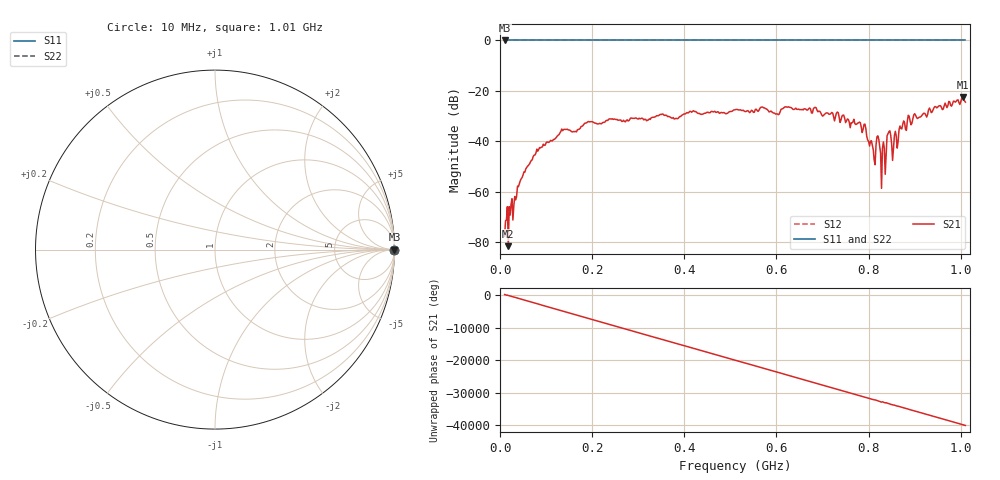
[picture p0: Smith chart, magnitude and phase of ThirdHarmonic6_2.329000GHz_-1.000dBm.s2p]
! 8/17/2025 3:21:42 AM
! C:\ANRITSUVNA\TEMP\TEMP.S2P
! CHANNEL.1
! TR.MEASUREMENT
! RAW.DATA
! RF.CORRECTION.OFF
! AVERAGING.OFF
! IF.BANDWIDTH: 5KHZ
! SWEEPTYPE:  FREQ.SWEEP(Linear)
! Reference Plane Port Info
! PORT:  PORT1  PORT2
! DISTANCE:  0  m  0  m
! TIME:  0  s  0  s
! PHASE.OFFSET:  0  deg.  0  deg.
! LOSS:  0  dB  0  dB
! REF.LOSS:  0  dB  0  dB
! REF.FREQ:  0  Hz  0  Hz
! Power Info
! POWER:  -20  dBm  -20  dBm
! EFF.POWER:  -20  dBm  -20  dBm
! SOURCE.ATTEN:  0  dB  0  dB
! TEST.ATTEN:  0  dB  0  dB
# GHZ S RI R 50.0
! FREQ.GHZ  S11RE  S11IM  S21RE  S21IM  S12RE  S12IM  S22RE  S22IM
!; PortSelection: Port_12
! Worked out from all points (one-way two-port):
!   501 points, 10 MHz to 1.01 GHz, reference 50 ohm
!   highest |S21| = -22.41 dB at 1.004 GHz (marker M1); lowest = -81.6 dB at 18 MHz (marker M2)
!   lowest |S11| = 0.0 dB at 10 MHz (marker M3)
!   |S11| at or under -10 dB: nowhere
!   |S22| runs from 0.0 to 0.0 dB; largest |S21 - S12| = 1.1
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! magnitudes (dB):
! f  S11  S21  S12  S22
! 10 MHz  0.0  -77.6  0.0  0.0
! 18 MHz  0.0  -81.6  0.0  0.0
! 32 MHz  0.0  -61.9  0.0  0.0
! 48 MHz  0.0  -54.4  0.0  0.0
! 82 MHz  0.0  -43.9  0.0  0.0
! 136 MHz  0.0  -35.8  0.0  0.0
! 178 MHz  0.0  -34.1  0.0  0.0
! 344 MHz  0.0  -29.8  0.0  0.0
! 510 MHz  0.0  -27.5  0.0  0.0
! 678 MHz  0.0  -28.8  0.0  0.0
! 780 MHz  0.0  -32.4  0.0  0.0
! 792 MHz  0.0  -33.2  0.0  0.0
! 812 MHz  0.0  -47.4  0.0  0.0
! 820 MHz  0.0  -37.8  0.0  0.0
! 824 MHz  0.0  -41.9  0.0  0.0
! 832 MHz  0.0  -40.3  0.0  0.0
! 844 MHz  0.0  -36.2  0.0  0.0
! 852 MHz  0.0  -47.6  0.0  0.0
! 872 MHz  0.0  -35.1  0.0  0.0
! 900 MHz  0.0  -29.1  0.0  0.0
! 1.004 GHz  0.0  -22.4  0.0  0.0
! 1.01 GHz  0.0  -24.5  0.0  0.0
